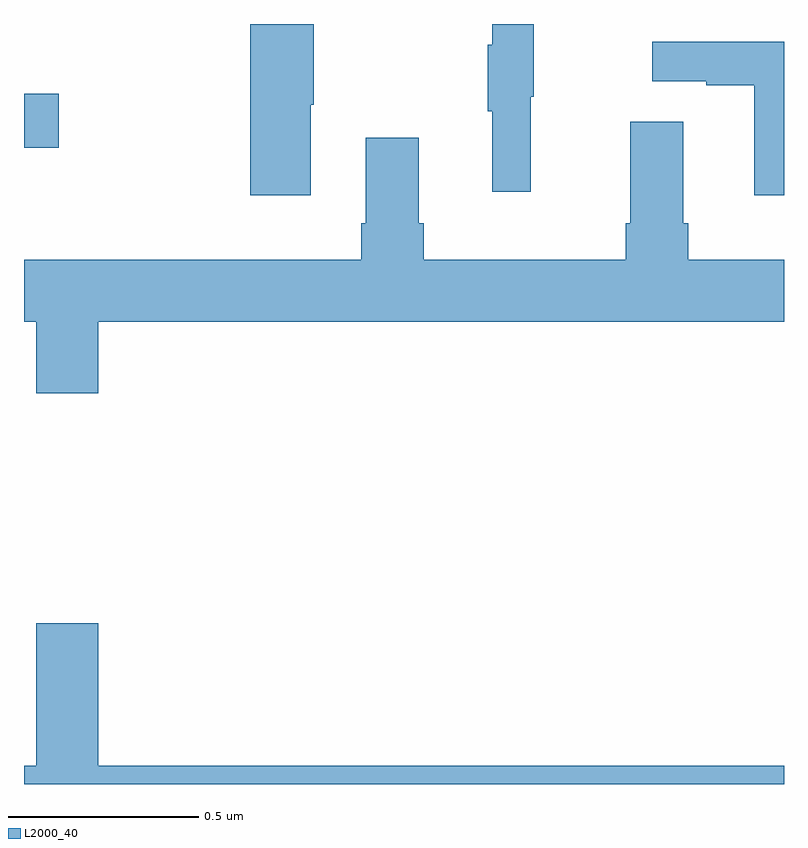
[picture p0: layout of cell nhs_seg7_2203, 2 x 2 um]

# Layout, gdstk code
import gdstk
lib = gdstk.Library(unit=1e-6, precision=1e-09)
def R(c, l, rs):  # rectangles x0, y0, x1, y1
    for r in rs: c.add(gdstk.rectangle(r[:2], r[2:], *l))
def P(c, l, *ps):  # polygons
    for p in ps: c.add(gdstk.Polygon(p, *l))
L2000_40 = (2000, 40)

nhs_seg7_2203 = lib.new_cell('nhs_seg7_2203')
R(nhs_seg7_2203, L2000_40, [(141,1067.674,141.091,1067.816)])
P(nhs_seg7_2203, L2000_40, [(141.754,1067.788),(141.762,1067.788),(141.762,1068),(141.596,1068),(141.596,1067.55),(141.754,1067.55)],
  [(142.334,1067.808),(142.342,1067.808),(142.342,1068),(142.232,1068),(142.232,1067.945),(142.221,1067.945),(142.221,1067.771),(142.232,1067.771),(142.232,1067.559),(142.334,1067.559)],
  [(143,1067.953),(142.653,1067.953),(142.653,1067.849),(142.796,1067.849),(142.796,1067.839),(142.922,1067.839),(142.922,1067.55),(143,1067.55)],
  [(143,1067.38),(142.748,1067.38),(142.748,1067.476),(142.735,1067.476),(142.735,1067.743),(142.595,1067.743),(142.595,1067.476),(142.583,1067.476),(142.583,1067.38),(142.052,1067.38),(142.052,1067.476),(142.039,1067.476),(142.039,1067.701),(141.899,1067.701),(141.899,1067.476),(141.887,1067.476),(141.887,1067.38),(141,1067.38),(141,1067.216),(141.032,1067.216),(141.032,1067.028),(141.196,1067.028),(141.196,1067.216),(143,1067.216)],
  [(143,1066.048),(141.196,1066.048),(141.196,1066.423),(141.032,1066.423),(141.032,1066.048),(141,1066.048),(141,1066),(143,1066)])

lib.write_gds('nhs_seg7_2203.gds')
